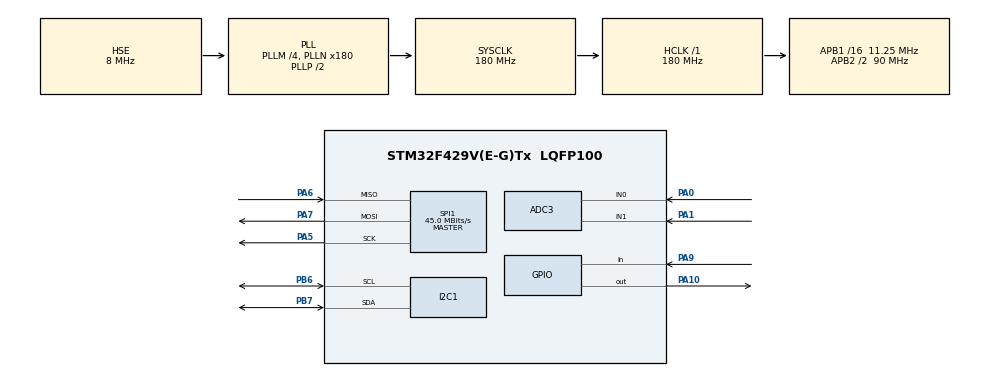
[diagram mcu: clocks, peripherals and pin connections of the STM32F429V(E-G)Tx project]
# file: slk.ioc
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ADC3.Channel-0\#ChannelRegularConversion=ADC_CHANNEL_0
ADC3.Channel-1\#ChannelRegularConversion=ADC_CHANNEL_1
ADC3.DMAContinuousRequests=ENABLE
ADC3.NbrOfConversion=2
ADC3.NbrOfConversionFlag=1
ADC3.Rank-0\#ChannelRegularConversion=1
ADC3.Rank-1\#ChannelRegularConversion=2
ADC3.SamplingTime-0\#ChannelRegularConversion=ADC_SAMPLETIME_3CYCLES
ADC3.SamplingTime-1\#ChannelRegularConversion=ADC_SAMPLETIME_3CYCLES
Dma.ADC3.0.Direction=DMA_PERIPH_TO_MEMORY
Dma.ADC3.0.FIFOMode=DMA_FIFOMODE_DISABLE
Dma.ADC3.0.Instance=DMA2_Stream0
Dma.ADC3.0.MemDataAlignment=DMA_MDATAALIGN_HALFWORD
Dma.ADC3.0.MemInc=DMA_MINC_ENABLE
Dma.ADC3.0.Mode=DMA_CIRCULAR
Dma.ADC3.0.PeriphDataAlignment=DMA_PDATAALIGN_HALFWORD
Dma.ADC3.0.PeriphInc=DMA_PINC_DISABLE
Dma.ADC3.0.Priority=DMA_PRIORITY_LOW
Dma.Request0=ADC3
Mcu.Family=STM32F4
Mcu.Name=STM32F429V(E-G)Tx
Mcu.Package=LQFP100
NVIC.DMA2_Stream0_IRQn=true\:0\:0\:false\:false\:true\:false\:true
NVIC.FPU_IRQn=true\:13\:0\:true\:false\:true\:true\:false
NVIC.PriorityGroup=NVIC_PRIORITYGROUP_4
NVIC.TIM4_IRQn=true\:13\:0\:true\:false\:true\:true\:true
PA0/WKUP.Signal=ADCx_IN0
PA1.Signal=ADCx_IN1
PA10.Signal=GPIO_Output
PA13.Mode=Serial_Wire
PA13.Signal=SYS_JTMS-SWDIO
PA14.Mode=Serial_Wire
PA14.Signal=SYS_JTCK-SWCLK
PA5.GPIO_Speed=GPIO_SPEED_FREQ_VERY_HIGH
PA5.Mode=Full_Duplex_Master
PA5.Signal=SPI1_SCK
PA6.GPIO_Speed=GPIO_SPEED_FREQ_VERY_HIGH
PA6.Mode=Full_Duplex_Master
PA6.Signal=SPI1_MISO
PA7.GPIO_Speed=GPIO_SPEED_FREQ_VERY_HIGH
PA7.Mode=Full_Duplex_Master
PA7.Signal=SPI1_MOSI
PA9.Signal=GPIO_Input
PB6.GPIO_Pu=GPIO_PULLUP
PB6.Mode=I2C
PB6.Signal=I2C1_SCL
PB7.GPIO_Pu=GPIO_PULLUP
PB7.Mode=I2C
PB7.Signal=I2C1_SDA
PH0/OSC_IN.Mode=HSE-External-Oscillator
PH0/OSC_IN.Signal=RCC_OSC_IN
PH1/OSC_OUT.Mode=HSE-External-Oscillator
PH1/OSC_OUT.Signal=RCC_OSC_OUT
ProjectManager.HeapSize=0x200
ProjectManager.StackSize=0x400
ProjectManager.TargetToolchain=STM32CubeIDE
RCC.48MHZClocksFreq_Value=90000000
RCC.AHBFreq_Value=180000000
RCC.APB1CLKDivider=RCC_HCLK_DIV16
RCC.APB1Freq_Value=11250000
RCC.APB1TimFreq_Value=22500000
RCC.APB2CLKDivider=RCC_HCLK_DIV2
RCC.APB2Freq_Value=90000000
RCC.APB2TimFreq_Value=180000000
RCC.CortexFreq_Value=180000000
RCC.HCLKFreq_Value=180000000
RCC.HSE_VALUE=8000000
RCC.HSI_VALUE=16000000
RCC.LSE_VALUE=32768
RCC.PLLM=4
RCC.PLLN=180
RCC.PLLSourceVirtual=RCC_PLLSOURCE_HSE
RCC.SYSCLKFreq_VALUE=180000000
RCC.SYSCLKSource=RCC_SYSCLKSOURCE_PLLCLK
RCC.VCOOutputFreq_Value=360000000
SH.ADCx_IN0.0=ADC3_IN0,IN0
SH.ADCx_IN1.0=ADC3_IN1,IN1
SPI1.CalculateBaudRate=45.0 MBits/s
SPI1.Direction=SPI_DIRECTION_2LINES
SPI1.Mode=SPI_MODE_MASTER
SPI1.VirtualType=VM_MASTER
TIM4.AutoReloadPreload=TIM_AUTORELOAD_PRELOAD_DISABLE
TIM4.Period=59
TIM4.Prescaler=89
VP_TIM4_VS_ClockSourceINT.Mode=Internal
board=custom

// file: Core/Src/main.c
/* USER CODE BEGIN Header */
/**
  ******************************************************************************
  * @file           : main.c
  * @brief          : Main program body
  ******************************************************************************
  * @attention
  *
  * Copyright (c) 2023 STMicroelectronics.
  *
  * All rights reserved.
  *
  * This software is licensed under terms that can be found in the LICENSE file
  * in the root directory of this software component.
  * If no LICENSE file comes with this software, it is provided AS-IS.
  *
  ******************************************************************************
  */
/* USER CODE END Header */
#include "main.h"

/* USER CODE BEGIN Includes */
#include <string.h>
#include <stdbool.h>
#include <stdio.h>
#include "../../Hardware/HX711/HX711.h"
#include "../../Hardware/LCD1602//LCD1602.h"
#include "../../Hardware/MOTO/MOTO.h"
#include "../../Hardware/OLED_0.96/OLED.h"
#include "../../Hardware/U8g2/u8g2.h"
/* USER CODE END Includes */

ADC_HandleTypeDef hadc3;
DMA_HandleTypeDef hdma_adc3;

I2C_HandleTypeDef hi2c1;

SPI_HandleTypeDef hspi1;

TIM_HandleTypeDef htim4;

void SystemClock_Config(void);
static void MX_GPIO_Init(void);
static void MX_TIM4_Init(void);
static void MX_I2C1_Init(void);
static void MX_DMA_Init(void);
static void MX_ADC3_Init(void);
static void MX_SPI1_Init(void);

int main(void)
{
  /* USER CODE BEGIN 1 */
    u8g2_t u8g2;
  /* USER CODE END 1 */

  /* MCU Configuration--------------------------------------------------------*/

  /* Reset of all peripherals, Initializes the Flash interface and the Systick. */
  HAL_Init();

  /* Configure the system clock */
  SystemClock_Config();

  /* Initialize all configured peripherals */
  MX_GPIO_Init();
  MX_TIM4_Init();
  MX_I2C1_Init();
  MX_DMA_Init();
  MX_ADC3_Init();
  MX_SPI1_Init();
  /* USER CODE BEGIN 2 */
    HX711_Init();
    u8g2_Setup_ssd1306_i2c_128x64_noname_f(&u8g2, U8G2_R0, u8x8_byte_i2c, u8g2_gpio_and_delay_stm32);
    u8g2_InitDisplay(&u8g2); // send init sequence to the display, display is in sleep mode after this,
    u8g2_SetPowerSave(&u8g2, 0); // wake up display
    u8g2_SetFont(&u8g2,u8g2_font_ncenB10_tr);
    char buff[10];
//    for (float i = 0.0; i < 10; i+=0.01) {
//        u8g2_ClearBuffer(&u8g2);
//        u8g2_DrawStr(&u8g2,3,10,"weirht:");
//        sprintf(buff,"%.2f",i);
//        u8g2_DrawStr(&u8g2,60,12,buff);
//        u8g2_SendBuffer(&u8g2);
//        // HAL_Delay(10);
//    }
  /* USER CODE END 2 */

  /* Infinite loop */
  while (1)
  {

    /* USER CODE BEGIN 3 */

   // u8g2_ClearDisplay(&u8g2);

     // u8g2_DrawStr(&u8g2,6,10,"test");

      u8g2_ClearBuffer(&u8g2);
      float force = HX711_GetForce();
      sprintf(buff,"%.5f",force);
      u8g2_DrawStr(&u8g2,3,10,"weirht:");
      u8g2_DrawStr(&u8g2,60,12,buff);
      u8g2_SendBuffer(&u8g2);
////      LCD1602_SetCursorPosition(0, 0);
//

  }

  /* USER CODE END 3 */
}

void SystemClock_Config(void)
{
  RCC_OscInitTypeDef RCC_OscInitStruct = {0};
  RCC_ClkInitTypeDef RCC_ClkInitStruct = {0};

  /** Configure the main internal regulator output voltage
  */
  __HAL_RCC_PWR_CLK_ENABLE();
  __HAL_PWR_VOLTAGESCALING_CONFIG(PWR_REGULATOR_VOLTAGE_SCALE1);
  /** Initializes the RCC Oscillators according to the specified parameters
  * in the RCC_OscInitTypeDef structure.
  */
  RCC_OscInitStruct.OscillatorType = RCC_OSCILLATORTYPE_HSE;
  RCC_OscInitStruct.HSEState = RCC_HSE_ON;
  RCC_OscInitStruct.PLL.PLLState = RCC_PLL_ON;
  RCC_OscInitStruct.PLL.PLLSource = RCC_PLLSOURCE_HSE;
  RCC_OscInitStruct.PLL.PLLM = 4;
  RCC_OscInitStruct.PLL.PLLN = 180;
  RCC_OscInitStruct.PLL.PLLP = RCC_PLLP_DIV2;
  RCC_OscInitStruct.PLL.PLLQ = 4;
  if (HAL_RCC_OscConfig(&RCC_OscInitStruct) != HAL_OK)
  {
    Error_Handler();
  }
  /** Activate the Over-Drive mode
  */
  if (HAL_PWREx_EnableOverDrive() != HAL_OK)
  {
    Error_Handler();
  }
  /** Initializes the CPU, AHB and APB buses clocks
  */
  RCC_ClkInitStruct.ClockType = RCC_CLOCKTYPE_HCLK|RCC_CLOCKTYPE_SYSCLK
                              |RCC_CLOCKTYPE_PCLK1|RCC_CLOCKTYPE_PCLK2;
  RCC_ClkInitStruct.SYSCLKSource = RCC_SYSCLKSOURCE_PLLCLK;
  RCC_ClkInitStruct.AHBCLKDivider = RCC_SYSCLK_DIV1;
  RCC_ClkInitStruct.APB1CLKDivider = RCC_HCLK_DIV16;
  RCC_ClkInitStruct.APB2CLKDivider = RCC_HCLK_DIV2;

  if (HAL_RCC_ClockConfig(&RCC_ClkInitStruct, FLASH_LATENCY_5) != HAL_OK)
  {
    Error_Handler();
  }
}

static void MX_ADC3_Init(void)
{

  ADC_ChannelConfTypeDef sConfig = {0};

  /** Configure the global features of the ADC (Clock, Resolution, Data Alignment and number of conversion)
  */
  hadc3.Instance = ADC3;
  hadc3.Init.ClockPrescaler = ADC_CLOCK_SYNC_PCLK_DIV4;
  hadc3.Init.Resolution = ADC_RESOLUTION_12B;
  hadc3.Init.ScanConvMode = ENABLE;
  hadc3.Init.ContinuousConvMode = DISABLE;
  hadc3.Init.DiscontinuousConvMode = DISABLE;
  hadc3.Init.ExternalTrigConvEdge = ADC_EXTERNALTRIGCONVEDGE_NONE;
  hadc3.Init.ExternalTrigConv = ADC_SOFTWARE_START;
  hadc3.Init.DataAlign = ADC_DATAALIGN_RIGHT;
  hadc3.Init.NbrOfConversion = 2;
  hadc3.Init.DMAContinuousRequests = ENABLE;
  hadc3.Init.EOCSelection = ADC_EOC_SINGLE_CONV;
  if (HAL_ADC_Init(&hadc3) != HAL_OK)
  {
    Error_Handler();
  }
  /** Configure for the selected ADC regular channel its corresponding rank in the sequencer and its sample time.
  */
  sConfig.Channel = ADC_CHANNEL_0;
  sConfig.Rank = 1;
  sConfig.SamplingTime = ADC_SAMPLETIME_3CYCLES;
  if (HAL_ADC_ConfigChannel(&hadc3, &sConfig) != HAL_OK)
  {
    Error_Handler();
  }
  /** Configure for the selected ADC regular channel its corresponding rank in the sequencer and its sample time.
  */
  sConfig.Channel = ADC_CHANNEL_1;
  sConfig.Rank = 2;
  if (HAL_ADC_ConfigChannel(&hadc3, &sConfig) != HAL_OK)
  {
    Error_Handler();
  }

}

static void MX_I2C1_Init(void)
{

  hi2c1.Instance = I2C1;
  hi2c1.Init.ClockSpeed = 100000;
  hi2c1.Init.DutyCycle = I2C_DUTYCYCLE_2;
  hi2c1.Init.OwnAddress1 = 0;
  hi2c1.Init.AddressingMode = I2C_ADDRESSINGMODE_7BIT;
  hi2c1.Init.DualAddressMode = I2C_DUALADDRESS_DISABLE;
  hi2c1.Init.OwnAddress2 = 0;
  hi2c1.Init.GeneralCallMode = I2C_GENERALCALL_DISABLE;
  hi2c1.Init.NoStretchMode = I2C_NOSTRETCH_DISABLE;
  if (HAL_I2C_Init(&hi2c1) != HAL_OK)
  {
    Error_Handler();
  }
  /** Configure Analogue filter
  */
  if (HAL_I2CEx_ConfigAnalogFilter(&hi2c1, I2C_ANALOGFILTER_ENABLE) != HAL_OK)
  {
    Error_Handler();
  }
  /** Configure Digital filter
  */
  if (HAL_I2CEx_ConfigDigitalFilter(&hi2c1, 0) != HAL_OK)
  {
    Error_Handler();
  }

}

static void MX_SPI1_Init(void)
{

  /* SPI1 parameter configuration*/
  hspi1.Instance = SPI1;
  hspi1.Init.Mode = SPI_MODE_MASTER;
  hspi1.Init.Direction = SPI_DIRECTION_2LINES;
  hspi1.Init.DataSize = SPI_DATASIZE_8BIT;
  hspi1.Init.CLKPolarity = SPI_POLARITY_LOW;
  hspi1.Init.CLKPhase = SPI_PHASE_1EDGE;
  hspi1.Init.NSS = SPI_NSS_SOFT;
  hspi1.Init.BaudRatePrescaler = SPI_BAUDRATEPRESCALER_2;
  hspi1.Init.FirstBit = SPI_FIRSTBIT_MSB;
  hspi1.Init.TIMode = SPI_TIMODE_DISABLE;
  hspi1.Init.CRCCalculation = SPI_CRCCALCULATION_DISABLE;
  hspi1.Init.CRCPolynomial = 10;
  if (HAL_SPI_Init(&hspi1) != HAL_OK)
  {
    Error_Handler();
  }

}

static void MX_TIM4_Init(void)
{

  TIM_ClockConfigTypeDef sClockSourceConfig = {0};
  TIM_MasterConfigTypeDef sMasterConfig = {0};

  htim4.Instance = TIM4;
  htim4.Init.Prescaler = 89;
  htim4.Init.CounterMode = TIM_COUNTERMODE_UP;
  htim4.Init.Period = 59;
  htim4.Init.ClockDivision = TIM_CLOCKDIVISION_DIV1;
  htim4.Init.AutoReloadPreload = TIM_AUTORELOAD_PRELOAD_DISABLE;
  if (HAL_TIM_Base_Init(&htim4) != HAL_OK)
  {
    Error_Handler();
  }
  sClockSourceConfig.ClockSource = TIM_CLOCKSOURCE_INTERNAL;
  if (HAL_TIM_ConfigClockSource(&htim4, &sClockSourceConfig) != HAL_OK)
  {
    Error_Handler();
  }
  sMasterConfig.MasterOutputTrigger = TIM_TRGO_RESET;
  sMasterConfig.MasterSlaveMode = TIM_MASTERSLAVEMODE_DISABLE;
  if (HAL_TIMEx_MasterConfigSynchronization(&htim4, &sMasterConfig) != HAL_OK)
  {
    Error_Handler();
  }

}

static void MX_DMA_Init(void)
{

  /* DMA controller clock enable */
  __HAL_RCC_DMA2_CLK_ENABLE();

  /* DMA interrupt init */
  /* DMA2_Stream0_IRQn interrupt configuration */
  HAL_NVIC_SetPriority(DMA2_Stream0_IRQn, 0, 0);
  HAL_NVIC_EnableIRQ(DMA2_Stream0_IRQn);

}

static void MX_GPIO_Init(void)
{
  GPIO_InitTypeDef GPIO_InitStruct = {0};

  /* GPIO Ports Clock Enable */
  __HAL_RCC_GPIOH_CLK_ENABLE();
  __HAL_RCC_GPIOA_CLK_ENABLE();
  __HAL_RCC_GPIOB_CLK_ENABLE();

  /*Configure GPIO pin Output Level */
  HAL_GPIO_WritePin(GPIOA, GPIO_PIN_10, GPIO_PIN_RESET);

  /*Configure GPIO pin : PA9 */
  GPIO_InitStruct.Pin = GPIO_PIN_9;
  GPIO_InitStruct.Mode = GPIO_MODE_INPUT;
  GPIO_InitStruct.Pull = GPIO_NOPULL;
  HAL_GPIO_Init(GPIOA, &GPIO_InitStruct);

  /*Configure GPIO pin : PA10 */
  GPIO_InitStruct.Pin = GPIO_PIN_10;
  GPIO_InitStruct.Mode = GPIO_MODE_OUTPUT_PP;
  GPIO_InitStruct.Pull = GPIO_NOPULL;
  GPIO_InitStruct.Speed = GPIO_SPEED_FREQ_LOW;
  HAL_GPIO_Init(GPIOA, &GPIO_InitStruct);

}

/* USER CODE BEGIN 4 */
void delay_us(uint32_t micros) {
    __HAL_TIM_SET_COUNTER(&htim4, 0); // ?????????????? 0
    HAL_TIM_Base_Start(&htim4);
    while (__HAL_TIM_GET_COUNTER(&htim4) < micros); // ??????????? micros
    HAL_TIM_Base_Stop(&htim4);
}

/* USER CODE END 4 */

void Error_Handler(void)
{
  __disable_irq();
  while (1)
  {
  }
}
